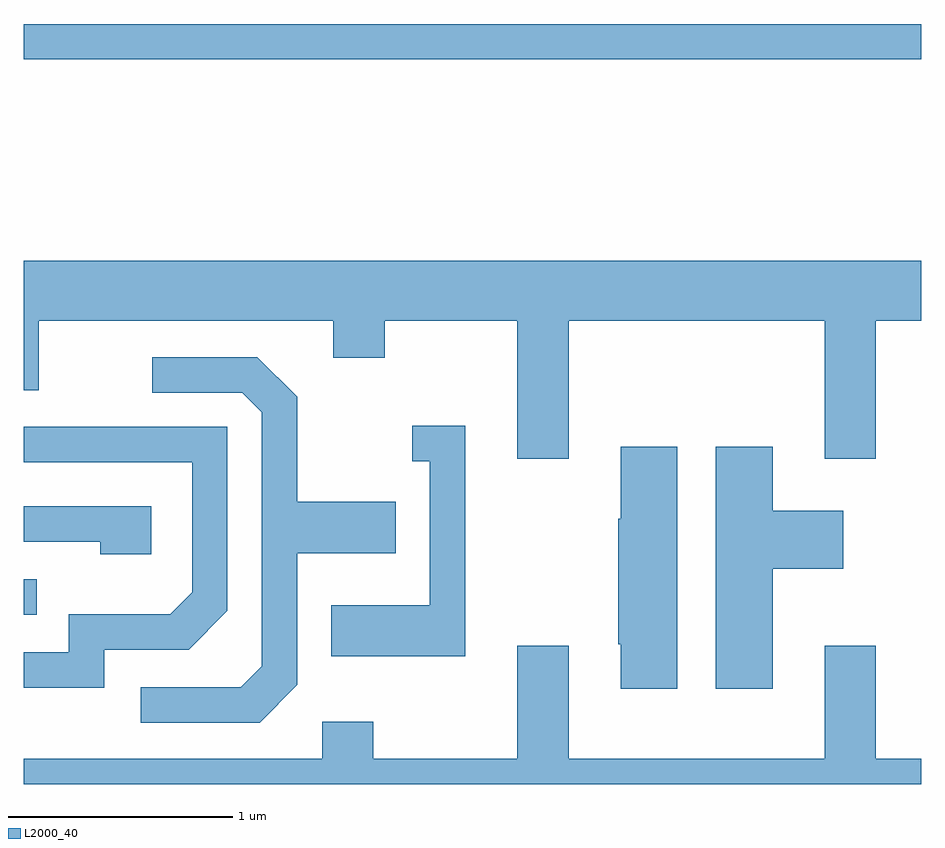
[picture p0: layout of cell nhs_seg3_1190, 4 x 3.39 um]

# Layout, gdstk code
import gdstk
lib = gdstk.Library(unit=1e-6, precision=1e-09)
def R(c, l, rs):  # rectangles x0, y0, x1, y1
    for r in rs: c.add(gdstk.rectangle(r[:2], r[2:], *l))
def P(c, l, *ps):  # polygons
    for p in ps: c.add(gdstk.Polygon(p, *l))
L2000_40 = (2000, 40)

nhs_seg3_1190 = lib.new_cell('nhs_seg3_1190')
R(nhs_seg3_1190, L2000_40, [(219.611,1184.646,219.668,1184.804), (219.611,1187.121,223.611,1187.279)])
P(nhs_seg3_1190, L2000_40, [(222.039,1185.956),(223.181,1185.956),(223.181,1185.341),(223.409,1185.341),(223.409,1185.956),(223.611,1185.956),(223.611,1186.224),(219.611,1186.224),(219.611,1185.646),(219.679,1185.646),(219.679,1185.956),(220.991,1185.956),(220.991,1185.791),(221.219,1185.791),(221.219,1185.956),(221.811,1185.956),(221.811,1185.341),(222.039,1185.341)],
  [(220.829,1184.334),(220.829,1184.921),(221.269,1184.921),(221.269,1185.149),(220.829,1185.149),(220.829,1185.617),(220.652,1185.794),(220.183,1185.794),(220.183,1185.636),(220.584,1185.636),(220.671,1185.549),(220.671,1184.417),(220.579,1184.324),(220.133,1184.324),(220.133,1184.166),(220.662,1184.166)],
  [(221.579,1185.489),(221.343,1185.489),(221.343,1185.331),(221.421,1185.331),(221.421,1184.689),(220.981,1184.689),(220.981,1184.461),(221.579,1184.461)],
  [(219.969,1184.491),(220.347,1184.491),(220.519,1184.664),(220.519,1185.484),(219.611,1185.484),(219.611,1185.326),(220.361,1185.326),(220.361,1184.747),(220.264,1184.649),(219.811,1184.649),(219.811,1184.479),(219.611,1184.479),(219.611,1184.321),(219.969,1184.321)],
  [(222.949,1184.851),(223.264,1184.851),(223.264,1185.109),(222.949,1185.109),(222.949,1185.394),(222.696,1185.394),(222.696,1184.316),(222.949,1184.316)],
  [(222.524,1185.394),(222.271,1185.394),(222.271,1185.075),(222.261,1185.075),(222.261,1184.515),(222.271,1184.515),(222.271,1184.316),(222.524,1184.316)],
  [(220.179,1185.129),(219.611,1185.129),(219.611,1184.971),(219.951,1184.971),(219.951,1184.916),(220.179,1184.916)],
  [(223.611,1184.004),(223.409,1184.004),(223.409,1184.509),(223.181,1184.509),(223.181,1184.004),(222.039,1184.004),(222.039,1184.509),(221.811,1184.509),(221.811,1184.004),(221.169,1184.004),(221.169,1184.169),(220.941,1184.169),(220.941,1184.004),(219.611,1184.004),(219.611,1183.892),(223.611,1183.892)])

lib.write_gds('nhs_seg3_1190.gds')
